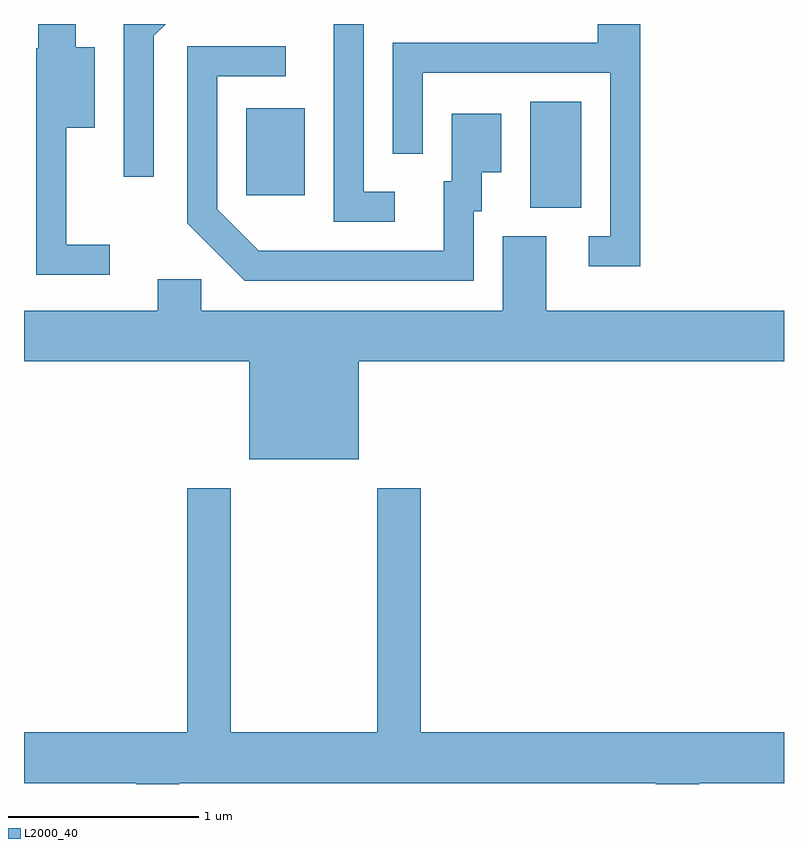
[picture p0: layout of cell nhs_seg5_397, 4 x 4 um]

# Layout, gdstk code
import gdstk
lib = gdstk.Library(unit=1e-6, precision=1e-09)
def R(c, l, rs):  # rectangles x0, y0, x1, y1
    for r in rs: c.add(gdstk.rectangle(r[:2], r[2:], *l))
def P(c, l, *ps):  # polygons
    for p in ps: c.add(gdstk.Polygon(p, *l))
L2000_40 = (2000, 40)

nhs_seg5_397 = lib.new_cell('nhs_seg5_397')
R(nhs_seg5_397, L2000_40, [(198.276,1513.106,198.544,1513.664), (196.781,1513.171,197.089,1513.629)])
P(nhs_seg5_397, L2000_40, [(198.854,1514.072),(198.631,1514.072),(198.631,1513.974),(197.551,1513.974),(197.551,1513.388),(197.709,1513.388),(197.709,1513.816),(198.696,1513.816),(198.696,1512.954),(198.583,1512.954),(198.583,1512.796),(198.854,1512.796)],
  [(196.063,1512.909),(195.834,1512.909),(195.834,1513.526),(195.984,1513.526),(195.984,1513.949),(195.884,1513.949),(195.884,1514.072),(195.686,1514.072),(195.686,1513.945),(195.676,1513.945),(195.676,1512.751),(196.063,1512.751)],
  [(196.294,1514.009),(196.358,1514.072),(196.136,1514.072),(196.136,1513.268),(196.294,1513.268)],
  [(197.563,1513.189),(197.399,1513.189),(197.399,1514.072),(197.241,1514.072),(197.241,1513.031),(197.563,1513.031)],
  [(197.979,1513.086),(198.019,1513.086),(198.019,1513.291),(198.124,1513.291),(198.124,1513.599),(197.861,1513.599),(197.861,1513.244),(197.821,1513.244),(197.821,1512.879),(196.847,1512.879),(196.629,1513.097),(196.629,1513.796),(196.988,1513.796),(196.988,1513.954),(196.471,1513.954),(196.471,1513.024),(196.774,1512.721),(197.979,1512.721)],
  [(197.374,1512.296),(199.611,1512.296),(199.611,1512.564),(198.359,1512.564),(198.359,1512.954),(198.131,1512.954),(198.131,1512.564),(196.544,1512.564),(196.544,1512.729),(196.316,1512.729),(196.316,1512.564),(195.611,1512.564),(195.611,1512.296),(196.796,1512.296),(196.796,1511.781),(197.374,1511.781)],
  [(196.429,1510.076),(198.936,1510.076),(198.936,1510.072),(199.164,1510.072),(199.164,1510.076),(199.611,1510.076),(199.611,1510.344),(197.699,1510.344),(197.699,1511.629),(197.471,1511.629),(197.471,1510.344),(196.699,1510.344),(196.699,1511.629),(196.471,1511.629),(196.471,1510.344),(195.611,1510.344),(195.611,1510.076),(196.201,1510.076),(196.201,1510.072),(196.429,1510.072)])

lib.write_gds('nhs_seg5_397.gds')
